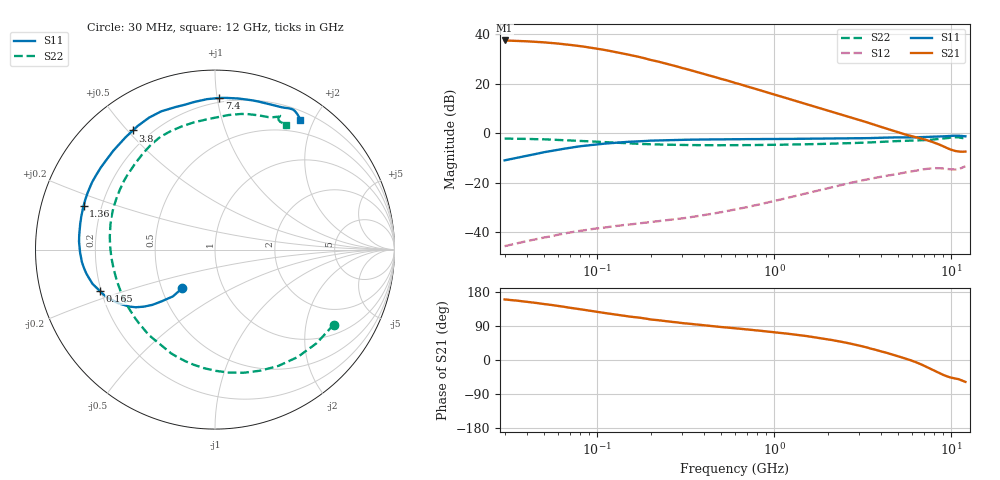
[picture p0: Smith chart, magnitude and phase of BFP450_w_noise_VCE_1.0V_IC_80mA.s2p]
! Infineon Technologies  Discrete & RF Semiconductors
! BFP450
! VCE =  1.0 V,  IC =  80 mA
! Common Emitter S-Parameters:  Nov 2015
# GHz  S  MA  R  50
!  f  S11  S21  S12  S22
! GHz  MAG  ANG  MAG  ANG  MAG  ANG  MAG  ANG
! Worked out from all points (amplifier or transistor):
!   239 points, 30 MHz to 12 GHz, reference 50 ohm
!   highest |S21| = 37.4 dB at 30 MHz (marker M1)
!   |S21| within 3 dB of that: start of sweep to 93.64 MHz
!   unconditionally stable (mu >= 1): 892.3 MHz to end of sweep
!   at 300 MHz: K = 0.69, MSG = 30.3 dB, |S12| = -34.3 dB
!   at 1.88 GHz: K = 1.09, MAG = 14.3 dB, |S12| = -22.6 dB
!   at 12 GHz: K = 1.08, MAG = 1.2 dB, |S12| = -13.3 dB
!   lowest NFmin = 1.90 dB at 450 MHz
!   S11 on the Smith chart (normalised r, x): 30 MHz: 0.63, -0.30; 165 MHz: 0.19, -0.17; 1.36 GHz: 0.13, +0.16; 3.8 GHz: 0.14, +0.52; 7.4 GHz: 0.17, +1.02; 12 GHz: 0.31, +1.81
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0.03  0.2845 -130.4  74.13 159.8  0.0053 75.7  0.7824 -32.3
0.04  0.3512 -132.0  71.28 153.6  0.0067 71.8  0.7697 -42.7
0.05  0.4141 -135.9  67.95 147.7  0.0079 67.4  0.7552 -52.5
0.06  0.4659 -138.6  64.19 142.8  0.009 63.3  0.738 -61.4
0.07  0.5086 -141.3  60.49 137.9  0.01 60.6  0.7202 -69.5
0.085  0.5599 -145.2  55.31 132.2  0.0111 56.8  0.6956 -80.3
0.11  0.6179 -151.2  47.73 124.1  0.0126 52.9  0.6633 -95.3
0.15  0.6718 -158.4  38.27 114.8  0.0144 49.7  0.6276 -112.9
0.165  0.6821 -160.3  35.75 112.8  0.0149 49.4  0.6156 -117.2
0.2  0.709 -164.5  30.08 107.0  0.0162 48.8  0.6021 -127.8
0.24  0.723 -168.0  25.76 102.9  0.0174 49.2  0.5896 -136.0
0.3  0.7372 -172.0  20.77 97.6  0.0192 50.3  0.5809 -145.7
0.36  0.7453 -175.0  17.44 93.9  0.0211 51.7  0.5762 -152.3
0.45  0.7519 -178.7  13.91 89.2  0.024 53.6  0.5737 -160.0
0.6  0.7588 176.7  10.34 83.5  0.029 56.0  0.5748 -168.6
0.9  0.7643 170.0  6.743 75.5  0.0396 57.7  0.5822 -179.4
1.36  0.7713 161.5  4.342 66.2  0.056 56.1  0.5948 169.2
1.64  0.7759 156.8  3.559 61.0  0.0658 53.9  0.603 163.6
3.8  0.8062 124.6  1.43 26.0  0.1282 29.5  0.6626 129.1
4.5  0.822 116.5  1.172 16.2  0.1425 22.2  0.6859 121.0
7.4  0.845 88.3  0.712 -20.4  0.1933 -8.7  0.7321 91.2
12  0.8668 56.7  0.427 -57.7  0.2157 -42.9  0.8001 60.5
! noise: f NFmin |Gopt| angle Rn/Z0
0.45  1.9  0.6  -172  0.07
0.9  1.96  0.63  -166  0.08
1.9  2.06  0.65  -150  0.14
2.4  2.15  0.65  -141  0.2
